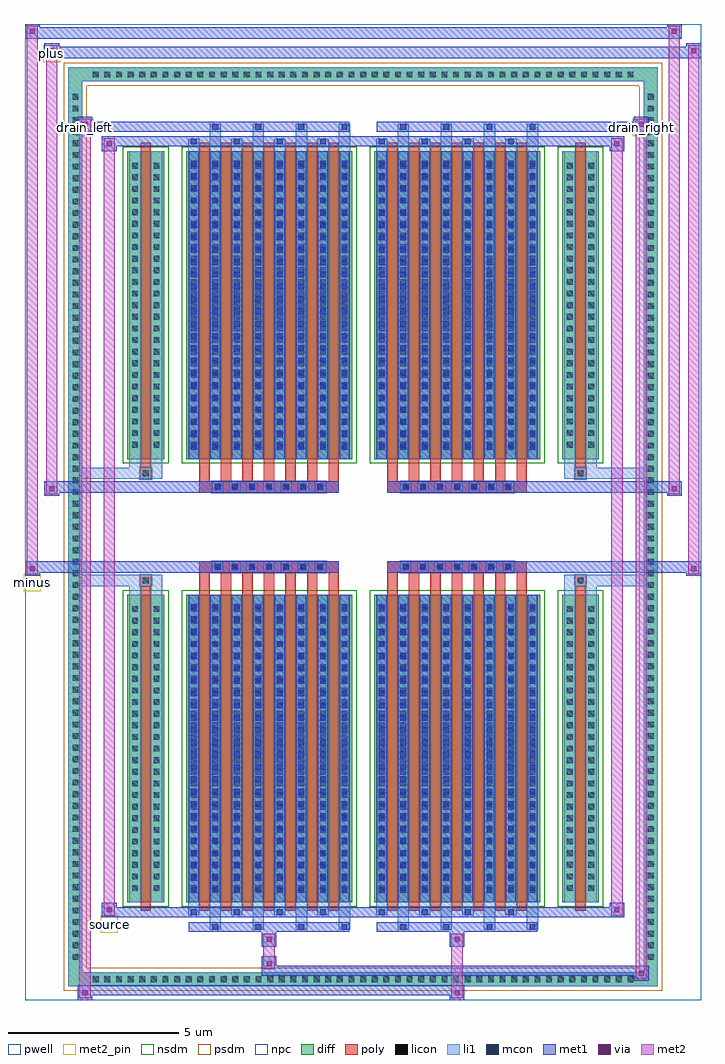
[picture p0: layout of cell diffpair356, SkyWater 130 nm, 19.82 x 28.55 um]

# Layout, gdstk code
import gdstk
lib = gdstk.Library(unit=1e-6, precision=5e-09)
def R(c, l, rs):  # rectangles x0, y0, x1, y1
    for r in rs: c.add(gdstk.rectangle(r[:2], r[2:], *l))
def A(c, l, x, y, w, h, nx, ny, dx, dy):  # array of equal rectangles
    R(c, l, [(x+i*dx, y+j*dy, x+i*dx+w, y+j*dy+h) for i in range(nx) for j in range(ny)])
def P(c, l, *ps):  # polygons
    for p in ps: c.add(gdstk.Polygon(p, *l))
pwell = (64, 44)
diff = (65, 20)
poly = (66, 20)
licon = (66, 44)
li1 = (67, 20)
mcon = (67, 44)
met1 = (68, 20)
via = (68, 44)
met2_pin = (69, 16)
met2 = (69, 20)
nsdm = (93, 44)
psdm = (94, 20)
npc = (95, 20)

diffpair356 = lib.new_cell('diffpair356')
R(diffpair356, pwell, [(-9.89,-13.84,9.89,14.71), (-7.21,-12.03,-0.01,-0.805), (0.01,-12.03,7.21,-0.805), (-7.21,0.805,-0.01,12.03), (0.01,0.805,7.21,12.03)])
A(diffpair356, diff, -8.025, -13.44, 0.41, 0.41, 47, 2, 0.34, 26.47)
A(diffpair356, diff, -8.62, -12.785, 0.41, 0.41, 1, 75, 0, 0.34)
A(diffpair356, diff, 8.21, -12.785, 0.41, 0.41, 1, 75, 0, 0.34)
R(diffpair356, diff, [(-8.025,-13.44,8.025,-13.03), (-8.62,-12.785,-8.21,12.785), (8.21,-12.785,8.62,12.785), (-6.9,-10.985,-5.82,-1.985), (-5.18,-10.985,-0.32,-1.985), (0.32,-10.985,5.18,-1.985), (5.82,-10.985,6.9,-1.985), (-6.9,1.985,-5.82,10.985), (-5.18,1.985,-0.32,10.985), (0.32,1.985,5.18,10.985), (5.82,1.985,6.9,10.985), (-8.025,13.03,8.025,13.44)])
P(diffpair356, diff, [(8.62,13.44),(-8.62,13.44),(-8.62,-13.03),(-8.21,-13.03),(-8.21,13.03),(8.21,13.03),(8.21,-13.03),(-8.21,-13.03),(-8.62,-13.03),(-8.62,-13.44),(8.62,-13.44)])
A(diffpair356, poly, -4.79, -11.235, 0.3, 9.5, 7, 2, 0.63, 12.97)
A(diffpair356, poly, 0.71, -11.235, 0.3, 9.5, 7, 2, 0.63, 12.97)
A(diffpair356, poly, -4.79, -1.735, 0.3, 0.4, 7, 2, 0.63, 3.07)
A(diffpair356, poly, 0.71, -1.735, 0.3, 0.4, 7, 2, 0.63, 3.07)
A(diffpair356, poly, -4.415, -1.335, 0.33, 0.33, 7, 2, 0.5, 2.34)
A(diffpair356, poly, 1.085, -1.335, 0.33, 0.33, 7, 2, 0.5, 2.34)
R(diffpair356, poly, [(-6.51,-11.235,-6.21,-1.735), (6.21,-11.235,6.51,-1.735), (-6.525,-1.735,-6.195,-1.405), (-6.525,-1.735,-6.195,-1.405), (6.195,-1.735,6.525,-1.405), (6.195,-1.735,6.525,-1.405), (-4.79,-1.335,-0.71,-1.005), (0.71,-1.335,4.79,-1.005), (-4.79,1.005,-0.71,1.335), (0.71,1.005,4.79,1.335), (-6.525,1.405,-6.195,1.735), (-6.525,1.405,-6.195,1.735), (6.195,1.405,6.525,1.735), (6.195,1.405,6.525,1.735), (-6.51,1.735,-6.21,11.235), (6.21,1.735,6.51,11.235)])
A(diffpair356, licon, -7.905, -13.32, 0.17, 0.17, 47, 2, 0.34, 26.47)
A(diffpair356, licon, -8.5, -12.665, 0.17, 0.17, 1, 75, 0, 0.34)
A(diffpair356, licon, 8.33, -12.665, 0.17, 0.17, 1, 75, 0, 0.34)
A(diffpair356, licon, -6.76, -10.65, 0.17, 0.17, 1, 25, 0, 0.34)
A(diffpair356, licon, -6.13, -10.65, 0.17, 0.17, 1, 25, 0, 0.34)
A(diffpair356, licon, -5.04, -10.65, 0.17, 0.17, 8, 25, 0.63, 0.34)
A(diffpair356, licon, 0.46, -10.65, 0.17, 0.17, 8, 25, 0.63, 0.34)
A(diffpair356, licon, 5.96, -10.65, 0.17, 0.17, 1, 25, 0, 0.34)
A(diffpair356, licon, 6.59, -10.65, 0.17, 0.17, 1, 25, 0, 0.34)
A(diffpair356, licon, -4.335, -1.255, 0.17, 0.17, 7, 2, 0.5, 2.34)
A(diffpair356, licon, 1.165, -1.255, 0.17, 0.17, 7, 2, 0.5, 2.34)
A(diffpair356, licon, -6.76, 2.32, 0.17, 0.17, 1, 25, 0, 0.34)
A(diffpair356, licon, -6.13, 2.32, 0.17, 0.17, 1, 25, 0, 0.34)
A(diffpair356, licon, -5.04, 2.32, 0.17, 0.17, 8, 25, 0.63, 0.34)
A(diffpair356, licon, 0.46, 2.32, 0.17, 0.17, 8, 25, 0.63, 0.34)
A(diffpair356, licon, 5.96, 2.32, 0.17, 0.17, 1, 25, 0, 0.34)
A(diffpair356, licon, 6.59, 2.32, 0.17, 0.17, 1, 25, 0, 0.34)
R(diffpair356, licon, [(-6.445,-1.655,-6.275,-1.485), (6.275,-1.655,6.445,-1.485), (-6.445,1.485,-6.275,1.655), (6.275,1.485,6.445,1.655)])
A(diffpair356, li1, -7.985, -13.4, 0.33, 0.33, 47, 2, 0.34, 26.47)
A(diffpair356, li1, -8.58, -12.745, 0.33, 0.33, 1, 75, 0, 0.34)
A(diffpair356, li1, 8.25, -12.745, 0.33, 0.33, 1, 75, 0, 0.34)
A(diffpair356, li1, -4.49, -11.79, 0.33, 0.805, 4, 2, 1.26, 22.775)
A(diffpair356, li1, -4.41, -11.79, 0.17, 0.17, 4, 2, 1.26, 23.41)
A(diffpair356, li1, 1.01, -11.79, 0.33, 0.805, 4, 2, 1.26, 22.775)
A(diffpair356, li1, 1.09, -11.79, 0.17, 0.17, 4, 2, 1.26, 23.41)
A(diffpair356, li1, -5.12, -11.36, 0.33, 0.375, 4, 2, 1.26, 22.345)
A(diffpair356, li1, -5.04, -11.36, 0.17, 0.17, 4, 2, 1.26, 22.55)
A(diffpair356, li1, 0.38, -11.36, 0.33, 0.375, 4, 2, 1.26, 22.345)
A(diffpair356, li1, 0.46, -11.36, 0.17, 0.17, 4, 2, 1.26, 22.55)
A(diffpair356, li1, -5.12, -10.985, 0.33, 9, 8, 2, 0.63, 12.97)
A(diffpair356, li1, 0.38, -10.985, 0.33, 9, 8, 2, 0.63, 12.97)
A(diffpair356, li1, -6.84, -10.73, 0.33, 0.33, 1, 25, 0, 0.34)
A(diffpair356, li1, -6.21, -10.73, 0.33, 0.33, 1, 25, 0, 0.34)
A(diffpair356, li1, -5.12, -10.73, 0.33, 0.33, 8, 25, 0.63, 0.34)
A(diffpair356, li1, 0.38, -10.73, 0.33, 0.33, 8, 25, 0.63, 0.34)
A(diffpair356, li1, 5.88, -10.73, 0.33, 0.33, 1, 25, 0, 0.34)
A(diffpair356, li1, 6.51, -10.73, 0.33, 0.33, 1, 25, 0, 0.34)
A(diffpair356, li1, -5.04, -10.71, 0.17, 0.17, 8, 24, 0.63, 0.36)
A(diffpair356, li1, -5.04, -10.71, 0.17, 8.45, 8, 2, 0.63, 12.97)
A(diffpair356, li1, 0.46, -10.71, 0.17, 0.17, 8, 24, 0.63, 0.36)
A(diffpair356, li1, 0.46, -10.71, 0.17, 8.45, 8, 2, 0.63, 12.97)
A(diffpair356, li1, -4.415, -1.335, 0.33, 0.33, 7, 2, 0.5, 2.34)
A(diffpair356, li1, 1.085, -1.335, 0.33, 0.33, 7, 2, 0.5, 2.34)
A(diffpair356, li1, -6.84, 2.24, 0.33, 0.33, 1, 25, 0, 0.34)
A(diffpair356, li1, -6.21, 2.24, 0.33, 0.33, 1, 25, 0, 0.34)
A(diffpair356, li1, -5.12, 2.24, 0.33, 0.33, 8, 25, 0.63, 0.34)
A(diffpair356, li1, 0.38, 2.24, 0.33, 0.33, 8, 25, 0.63, 0.34)
A(diffpair356, li1, 5.88, 2.24, 0.33, 0.33, 1, 25, 0, 0.34)
A(diffpair356, li1, 6.51, 2.24, 0.33, 0.33, 1, 25, 0, 0.34)
A(diffpair356, li1, -5.04, 2.26, 0.17, 0.17, 8, 24, 0.63, 0.36)
A(diffpair356, li1, 0.46, 2.26, 0.17, 0.17, 8, 24, 0.63, 0.36)
R(diffpair356, li1, [(-8.62,-13.44,-8.21,-13.03), (-8.62,-13.44,-8.21,-13.03), (-8.21,-13.44,8.21,-13.03), (8.21,-13.44,8.62,-13.03), (8.21,-13.44,8.62,-13.03), (-8.62,-13.03,-8.21,13.03), (8.21,-13.03,8.62,13.03), (-6.84,-10.985,-6.51,-1.985), (-6.21,-10.985,-5.88,-1.985), (5.88,-10.985,6.21,-1.985), (6.51,-10.985,6.84,-1.985), (-6.84,-1.985,-6.51,-1.405), (-6.21,-1.985,-5.88,-1.405), (5.88,-1.985,6.21,-1.405), (6.51,-1.985,6.84,-1.405), (-8.62,-1.735,-6.525,-1.405), (-6.84,-1.735,-6.525,-1.405), (-6.525,-1.735,-6.195,-1.405), (-6.195,-1.735,-5.88,-1.405), (5.88,-1.735,6.195,-1.405), (6.195,-1.735,6.525,-1.405), (6.195,-1.735,8.62,-1.405), (6.525,-1.735,6.84,-1.405), (-8.62,1.405,-6.525,1.735), (-6.84,1.405,-6.525,1.735), (-6.84,1.405,-6.51,1.985), (-6.525,1.405,-6.195,1.735), (-6.21,1.405,-5.88,1.985), (-6.195,1.405,-5.88,1.735), (5.88,1.405,6.195,1.735), (5.88,1.405,6.21,1.985), (6.195,1.405,6.525,1.735), (6.195,1.405,8.62,1.735), (6.51,1.405,6.84,1.985), (6.525,1.405,6.84,1.735), (-6.84,1.985,-6.51,10.985), (-6.21,1.985,-5.88,10.985), (5.88,1.985,6.21,10.985), (6.51,1.985,6.84,10.985), (-8.62,13.03,-8.21,13.44), (-8.62,13.03,-8.21,13.44), (-8.21,13.03,8.21,13.44), (8.21,13.03,8.62,13.44), (8.21,13.03,8.62,13.44)])
A(diffpair356, mcon, -4.41, -11.79, 0.17, 0.17, 4, 2, 1.26, 23.41)
A(diffpair356, mcon, 1.09, -11.79, 0.17, 0.17, 4, 2, 1.26, 23.41)
A(diffpair356, mcon, -5.04, -11.36, 0.17, 0.17, 4, 2, 1.26, 22.55)
A(diffpair356, mcon, 0.46, -11.36, 0.17, 0.17, 4, 2, 1.26, 22.55)
A(diffpair356, mcon, -5.04, -10.71, 0.17, 0.17, 8, 24, 0.63, 0.36)
A(diffpair356, mcon, 0.46, -10.71, 0.17, 0.17, 8, 24, 0.63, 0.36)
A(diffpair356, mcon, -4.335, -1.255, 0.17, 0.17, 7, 2, 0.5, 2.34)
A(diffpair356, mcon, 1.165, -1.255, 0.17, 0.17, 7, 2, 0.5, 2.34)
A(diffpair356, mcon, -5.04, 2.26, 0.17, 0.17, 8, 24, 0.63, 0.36)
A(diffpair356, mcon, 0.46, 2.26, 0.17, 0.17, 8, 24, 0.63, 0.36)
A(diffpair356, met1, -4.47, -11.85, 0.29, 0.29, 4, 2, 1.26, 23.41)
A(diffpair356, met1, 1.03, -11.85, 0.29, 0.29, 4, 2, 1.26, 23.41)
A(diffpair356, met1, -5.1, -11.42, 0.29, 0.29, 4, 2, 1.26, 22.55)
A(diffpair356, met1, 0.4, -11.42, 0.29, 0.29, 4, 2, 1.26, 22.55)
A(diffpair356, met1, -5.1, -10.985, 0.29, 9, 8, 2, 0.63, 12.97)
A(diffpair356, met1, 0.4, -10.985, 0.29, 9, 8, 2, 0.63, 12.97)
A(diffpair356, met1, -5.1, -10.77, 0.29, 0.29, 8, 24, 0.63, 0.36)
A(diffpair356, met1, 0.4, -10.77, 0.29, 0.29, 8, 24, 0.63, 0.36)
A(diffpair356, met1, -4.395, -1.315, 0.29, 0.29, 7, 2, 0.5, 2.34)
A(diffpair356, met1, 1.105, -1.315, 0.29, 0.29, 7, 2, 0.5, 2.34)
A(diffpair356, met1, -5.1, 2.2, 0.29, 0.29, 8, 24, 0.63, 0.36)
A(diffpair356, met1, 0.4, 2.2, 0.29, 0.29, 8, 24, 0.63, 0.36)
R(diffpair356, met1, [(-8.35,-13.84,-7.92,-13.41), (2.535,-13.84,2.965,-13.41), (-8.35,-13.7,2.965,-13.41), (7.92,-13.27,8.35,-12.84), (-2.965,-13.13,8.35,-12.84), (-2.965,-12.99,-2.535,-12.56), (-2.965,-12.28,-2.535,-11.85), (2.535,-12.28,2.965,-11.85), (-5.1,-11.85,-0.4,-11.56), (0.4,-11.85,5.1,-11.56), (-7.64,-11.42,-7.21,-10.99), (-7.64,-11.42,-5.1,-11.13), (-5.1,-11.42,-0.4,-11.13), (-0.4,-11.42,0.4,-11.13), (0.4,-11.42,5.1,-11.13), (5.1,-11.42,7.64,-11.13), (7.21,-11.42,7.64,-10.99), (-9.89,-1.435,-9.46,-1.005), (9.46,-1.435,9.89,-1.005), (-9.89,-1.335,-0.71,-1.005), (-4.79,-1.335,-0.71,-1.005), (0.71,-1.335,4.79,-1.005), (0.71,-1.335,9.89,-1.005), (-9.32,0.905,-8.89,1.335), (8.89,0.905,9.32,1.335), (-9.32,1.005,-4.79,1.335), (-4.79,1.005,-0.71,1.335), (0.71,1.005,4.79,1.335), (4.79,1.005,9.32,1.335), (-7.64,10.99,-7.21,11.42), (7.21,10.99,7.64,11.42), (-7.64,11.13,-5.1,11.42), (-5.1,11.13,-0.4,11.42), (-0.4,11.13,0.4,11.42), (0.4,11.13,5.1,11.42), (5.1,11.13,7.64,11.42), (-8.35,11.56,-7.92,11.99), (-8.35,11.56,-5.1,11.85), (-5.1,11.56,-0.4,11.85), (0.4,11.56,5.1,11.85), (5.1,11.56,8.35,11.85), (7.92,11.56,8.35,11.99), (-9.32,13.71,-8.89,14.14), (-9.32,13.71,-7.21,14.04), (-7.21,13.71,7.21,14.04), (7.21,13.71,9.89,14.04), (9.46,13.71,9.89,14.14), (-9.89,14.28,-9.46,14.71), (-9.89,14.28,-7.21,14.61), (-7.21,14.28,7.21,14.61), (7.21,14.28,9.32,14.61), (8.89,14.28,9.32,14.71)])
R(diffpair356, via, [(-8.21,-13.7,-8.06,-13.55), (2.675,-13.7,2.825,-13.55), (8.06,-13.13,8.21,-12.98), (-2.825,-12.85,-2.675,-12.7), (-2.825,-12.14,-2.675,-11.99), (2.675,-12.14,2.825,-11.99), (-7.5,-11.28,-7.35,-11.13), (7.35,-11.28,7.5,-11.13), (-9.75,-1.295,-9.6,-1.145), (9.6,-1.295,9.75,-1.145), (-9.18,1.045,-9.03,1.195), (9.03,1.045,9.18,1.195), (-7.5,11.13,-7.35,11.28), (7.35,11.13,7.5,11.28), (-8.21,11.7,-8.06,11.85), (8.06,11.7,8.21,11.85), (-9.18,13.85,-9.03,14), (9.6,13.85,9.75,14), (-9.75,14.42,-9.6,14.57), (9.03,14.42,9.18,14.57)])
R(diffpair356, met2_pin, [(-7.675,-11.87,-7.175,-11.37), (-9.925,-1.885,-9.425,-1.385), (-8.385,11.44,-7.885,11.94), (7.885,11.44,8.385,11.94), (-9.355,13.59,-8.855,14.09)])
R(diffpair356, met2, [(-8.3,-13.79,-7.97,-13.46), (-8.3,-13.79,-7.97,11.94), (2.585,-13.79,2.915,-13.46), (2.585,-13.46,2.915,-12.23), (7.97,-13.22,8.3,-12.89), (7.97,-13.22,8.3,11.94), (-2.915,-12.94,-2.585,-12.61), (-2.915,-12.61,-2.585,-12.23), (-2.915,-12.23,-2.585,-11.9), (2.585,-12.23,2.915,-11.9), (-7.59,-11.37,-7.26,-11.04), (-7.59,-11.37,-7.26,11.37), (7.26,-11.37,7.59,-11.04), (7.26,-11.37,7.59,11.37), (-9.84,-1.385,-9.51,-1.055), (-9.84,-1.385,-9.51,14.66), (9.51,-1.385,9.84,-1.055), (9.51,-1.385,9.84,14.09), (-9.27,0.955,-8.94,1.285), (-9.27,0.955,-8.94,14.09), (8.94,0.955,9.27,1.285), (8.94,0.955,9.27,14.66), (-7.59,11.04,-7.26,11.37), (7.26,11.04,7.59,11.37), (-8.3,11.61,-7.97,11.94), (7.97,11.61,8.3,11.94), (-9.27,13.76,-8.94,14.09), (9.51,13.76,9.84,14.09), (-9.84,14.33,-9.51,14.66), (8.94,14.33,9.27,14.66)])
P(diffpair356, met2, [(9.84,-1.385),(9.84,-1.385),(9.84,-1.055),(9.84,-1.055)],
  [(9.84,13.76),(9.84,13.76),(9.84,14.09),(9.84,14.09)],
  [(-9.51,-1.385),(-9.51,-1.385),(-9.51,-1.055),(-9.51,-1.055)],
  [(-9.51,14.33),(-9.51,14.33),(-9.51,14.66),(-9.51,14.66)],
  [(9.27,0.955),(9.27,0.955),(9.27,1.285),(9.27,1.285)],
  [(9.27,14.33),(9.27,14.33),(9.27,14.66),(9.27,14.66)],
  [(-8.94,0.955),(-8.94,0.955),(-8.94,1.285),(-8.94,1.285)],
  [(-8.94,13.76),(-8.94,13.76),(-8.94,14.09),(-8.94,14.09)],
  [(-7.97,-13.79),(-7.97,-13.79),(-7.97,-13.46),(-7.97,-13.46)],
  [(-7.97,11.61),(-7.97,11.61),(-7.97,11.94),(-7.97,11.94)],
  [(8.3,-13.22),(8.3,-13.22),(8.3,-12.89),(8.3,-12.89)],
  [(8.3,11.61),(8.3,11.61),(8.3,11.94),(8.3,11.94)],
  [(-7.26,-11.37),(-7.26,-11.37),(-7.26,-11.04),(-7.26,-11.04)],
  [(-7.26,11.04),(-7.26,11.04),(-7.26,11.37),(-7.26,11.37)],
  [(7.59,-11.37),(7.59,-11.37),(7.59,-11.04),(7.59,-11.04)],
  [(7.59,11.04),(7.59,11.04),(7.59,11.37),(7.59,11.37)])
R(diffpair356, nsdm, [(-7.03,-11.115,-5.69,-1.855), (-5.31,-11.115,-0.19,-1.855), (0.19,-11.115,5.31,-1.855), (5.69,-11.115,7.03,-1.855), (-7.03,1.855,-5.69,11.115), (-5.31,1.855,-0.19,11.115), (0.19,1.855,5.31,11.115), (5.69,1.855,7.03,11.115)])
P(diffpair356, psdm, [(8.75,13.57),(-8.75,13.57),(-8.75,-12.9),(-8.08,-12.9),(-8.08,12.9),(8.08,12.9),(8.08,-12.9),(-8.08,-12.9),(-8.75,-12.9),(-8.75,-13.57),(8.75,-13.57)])
A(diffpair356, npc, -4.435, -1.355, 0.37, 0.37, 7, 2, 0.5, 2.34)
A(diffpair356, npc, 1.065, -1.355, 0.37, 0.37, 7, 2, 0.5, 2.34)
R(diffpair356, npc, [(-6.545,-1.755,-6.175,-1.385), (6.175,-1.755,6.545,-1.385), (-4.435,-1.355,-3.565,-0.985), (-4.435,-1.355,-3.565,-0.985), (-3.935,-1.355,-3.065,-0.985), (-3.935,-1.355,-3.065,-0.985), (-3.435,-1.355,-2.565,-0.985), (-3.435,-1.355,-2.565,-0.985), (-2.935,-1.355,-2.065,-0.985), (-2.935,-1.355,-2.065,-0.985), (-2.435,-1.355,-1.565,-0.985), (-2.435,-1.355,-1.565,-0.985), (-1.935,-1.355,-1.065,-0.985), (-1.935,-1.355,-1.065,-0.985), (1.065,-1.355,1.935,-0.985), (1.065,-1.355,1.935,-0.985), (1.565,-1.355,2.435,-0.985), (1.565,-1.355,2.435,-0.985), (2.065,-1.355,2.935,-0.985), (2.065,-1.355,2.935,-0.985), (2.565,-1.355,3.435,-0.985), (2.565,-1.355,3.435,-0.985), (3.065,-1.355,3.935,-0.985), (3.065,-1.355,3.935,-0.985), (3.565,-1.355,4.435,-0.985), (3.565,-1.355,4.435,-0.985), (-4.435,0.985,-3.565,1.355), (-4.435,0.985,-3.565,1.355), (-3.935,0.985,-3.065,1.355), (-3.935,0.985,-3.065,1.355), (-3.435,0.985,-2.565,1.355), (-3.435,0.985,-2.565,1.355), (-2.935,0.985,-2.065,1.355), (-2.935,0.985,-2.065,1.355), (-2.435,0.985,-1.565,1.355), (-2.435,0.985,-1.565,1.355), (-1.935,0.985,-1.065,1.355), (-1.935,0.985,-1.065,1.355), (1.065,0.985,1.935,1.355), (1.065,0.985,1.935,1.355), (1.565,0.985,2.435,1.355), (1.565,0.985,2.435,1.355), (2.065,0.985,2.935,1.355), (2.065,0.985,2.935,1.355), (2.565,0.985,3.435,1.355), (2.565,0.985,3.435,1.355), (3.065,0.985,3.935,1.355), (3.065,0.985,3.935,1.355), (3.565,0.985,4.435,1.355), (3.565,0.985,4.435,1.355), (-6.545,1.385,-6.175,1.755), (6.175,1.385,6.545,1.755)])
diffpair356.add(gdstk.Label('minus', (-9.675,-1.635), layer=69, texttype=5))
diffpair356.add(gdstk.Label('drain_right', (8.135,11.69), layer=69, texttype=5))
diffpair356.add(gdstk.Label('drain_left', (-8.135,11.69), layer=69, texttype=5))
diffpair356.add(gdstk.Label('source', (-7.425,-11.62), layer=69, texttype=5))
diffpair356.add(gdstk.Label('plus', (-9.105,13.84), layer=69, texttype=5))

lib.write_gds('diffpair356.gds')
